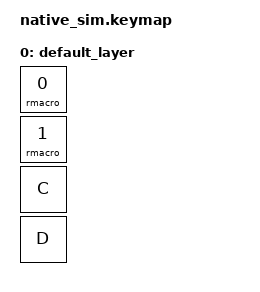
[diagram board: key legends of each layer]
#include <dt-bindings/zmk/keys.h>
#include <behaviors.dtsi>
#include <behaviors/runtime_macro.dtsi>
#include <dt-bindings/zmk/kscan_mock.h>

/ {
	runtime_macro_defaults {
		rmacro_default_0 {
			compatible = "cormoran,runtime-macro-default";
			slot = <0>;
			display-name = "Hi";
			text = "hi";
		};

		rmacro_default_1 {
			compatible = "cormoran,runtime-macro-default";
			slot = <1>;
			display-name = "Bindings";
			bindings = <&macro_press &kp LSHFT>
				 , <&macro_tap &kp A>
				 , <&macro_release &kp LSHFT>
				 , <&macro_wait_time 5>
				 , <&macro_tap &kp B>;
		};
	};

	keymap {
		compatible = "zmk,keymap";

		default_layer {
			bindings = <
			&rmacro 0
			&rmacro 1
			&kp C
			&kp D
			>;
		};
	};
};

&kscan {
	events = <
	ZMK_MOCK_PRESS(0,0,10)
	ZMK_MOCK_RELEASE(0,0,10)
	ZMK_MOCK_PRESS(0,1,10)
	ZMK_MOCK_RELEASE(0,1,10)
	>;
};
